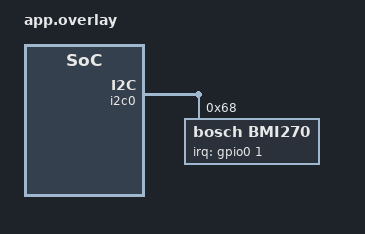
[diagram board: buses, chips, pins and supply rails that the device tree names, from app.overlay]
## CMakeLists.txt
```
# Copyright The Zephyr Project Contributors
# SPDX-License-Identifier: Apache-2.0

cmake_minimum_required(VERSION 3.28.0)
find_package(Zephyr REQUIRED HINTS $ENV{ZEPHYR_BASE})
project(bmi270)

target_include_directories(app PRIVATE ${ZEPHYR_BASE}/drivers/sensor/bosch/bmi270)
target_sources(app PRIVATE src/main.c)
```

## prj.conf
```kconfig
# Copyright The Zephyr Project Contributors
# SPDX-License-Identifier: Apache-2.0

CONFIG_ZTEST=y
CONFIG_SENSOR=y
CONFIG_SENSOR_ASYNC_API=y
CONFIG_EMUL=y
CONFIG_GPIO=y
```

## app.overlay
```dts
/*
 * Copyright The Zephyr Project Contributors
 *
 * SPDX-License-Identifier: Apache-2.0
 */

#include <zephyr/dt-bindings/gpio/gpio.h>

&i2c0 {
	bmi270: bmi270@68 {
		compatible = "bosch,bmi270";
		reg = <0x68>;
		irq-gpios = <&gpio0 1 GPIO_ACTIVE_HIGH>;
	};
};
```

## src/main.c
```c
/*
 * Copyright The Zephyr Project Contributors
 *
 * SPDX-License-Identifier: Apache-2.0
 */

#include <stdlib.h>

#include <zephyr/device.h>
#include <zephyr/drivers/sensor.h>
#include <zephyr/sys/byteorder.h>
#include <zephyr/ztest.h>

#include "bmi270.h"
#include "bmi270_decoder.h"

#ifdef CONFIG_BMI270_STREAM

/* Allowed relative error of a decoded value, in parts per million */
#define TOLERANCE_PPM 20

#define LAST_TS_NS 10000000000ULL

/* FIFO frame headers */
#define HDR_ACC_GYR    0x8CU
#define HDR_ACC        0x84U
#define HDR_GYR        0x88U
#define HDR_EMPTY      0x80U
#define HDR_SKIP       0x40U
#define HDR_SENSORTIME 0x44U
#define HDR_CONFIG_CHG 0x48U
/* INT tag bits of regular frame headers */
#define HDR_INT1_TAG   0x01U
#define HDR_INT2_TAG   0x02U

#define MAX_READINGS 8

static const struct sensor_decoder_api *decoder = SENSOR_DECODER_DT_GET(DT_NODELABEL(bmi270));

static const struct sensor_chan_spec chan_accel = {SENSOR_CHAN_ACCEL_XYZ, 0};
static const struct sensor_chan_spec chan_gyro = {SENSOR_CHAN_GYRO_XYZ, 0};

static const uint16_t gyr_range_dps[] = {2000, 1000, 500, 250, 125};

static struct {
	struct bmi270_fifo_encoded_data edata;
	uint8_t fifo[256];
} __packed buf;

static const uint8_t *const buffer = (const uint8_t *)&buf;
static size_t fifo_len;

struct expected {
	int16_t raw[3];
	uint64_t timestamp_ns;
};

static void fifo_start(bool headerless, uint8_t acc_range, uint8_t gyr_range_idx, uint8_t acc_odr,
		       uint8_t gyr_odr)
{
	memset(&buf, 0, sizeof(buf));
	buf.edata.header.timestamp = LAST_TS_NS;
	buf.edata.header.is_fifo = 1;
	buf.edata.header.is_headerless = headerless ? 1 : 0;
	buf.edata.header.acc_range = acc_range;
	buf.edata.header.gyr_range_idx = gyr_range_idx;
	buf.edata.header.acc_odr = acc_odr;
	buf.edata.header.gyr_odr = gyr_odr;
	buf.edata.header.int_status = BMI270_INT_STATUS_1_FWM_INT;
	fifo_len = 0;
}

static void put_byte(uint8_t value)
{
	buf.fifo[fifo_len++] = value;
	buf.edata.fifo_byte_count = fifo_len;
}

static void put_xyz(const int16_t raw[3])
{
	for (int i = 0; i < 3; i++) {
		sys_put_le16((uint16_t)raw[i], &buf.fifo[fifo_len]);
		fifo_len += 2;
	}
	buf.edata.fifo_byte_count = fifo_len;
}

static int64_t q31_to_micro(q31_t value, int8_t shift)
{
	return ((int64_t)value * 1000000) >> (31 - shift);
}

static int64_t accel_micro(int16_t raw, uint8_t acc_range)
{
	/* range_g * g / 32768 per LSB */
	return (int64_t)raw * (2 << acc_range) * SENSOR_G / 32768;
}

static int64_t gyro_micro(int16_t raw, uint8_t gyr_range_idx)
{
	/* range_dps * pi / 180 / 32768 rad/s per LSB */
	return (int64_t)raw * gyr_range_dps[gyr_range_idx] * SENSOR_PI / (180LL * 32768);
}

static void check_xyz(const struct sensor_three_axis_sample_data *reading, int8_t shift,
		      const int16_t raw[3], bool accel, uint8_t range)
{
	for (int i = 0; i < 3; i++) {
		int64_t expected = accel ? accel_micro(raw[i], range) : gyro_micro(raw[i], range);
		int64_t actual = q31_to_micro(reading->values[i], shift);
		int64_t tolerance = (llabs(expected) * TOLERANCE_PPM) / 1000000 + 1;

		zassert_within(actual, expected, tolerance, "raw %d: got %lld, expected %lld",
			       raw[i], actual, expected);
	}
}

static void check_count(struct sensor_chan_spec chan, uint16_t expected)
{
	uint16_t frame_count;

	zassert_ok(decoder->get_frame_count(buffer, chan, &frame_count));
	zassert_equal(frame_count, expected, "chan %d: %u frames", chan.chan_type, frame_count);
}

/* Decode all readings of a channel in one call, then one by one */
static void check_decode(struct sensor_chan_spec chan, int8_t shift, uint8_t range,
			 const struct expected *exp, int count)
{
	struct {
		struct sensor_three_axis_data data;
		struct sensor_three_axis_sample_data extra[MAX_READINGS - 1];
	} out;
	/* Not indexed through the one-element readings array of the header struct */
	const struct sensor_three_axis_sample_data *readings = out.data.readings;
	const bool accel = chan.chan_type == SENSOR_CHAN_ACCEL_XYZ;
	uint32_t fit = 0;

	zassert_true(count <= MAX_READINGS);
	check_count(chan, count);

	zassert_equal(decoder->decode(buffer, chan, &fit, MAX_READINGS, &out), count);
	if (count > 0) {
		zassert_equal(out.data.header.reading_count, count);
		zassert_equal(out.data.shift, shift);
	}

	for (int i = 0; i < count; i++) {
		const struct sensor_three_axis_sample_data *reading = &readings[i];

		zassert_equal(out.data.header.base_timestamp_ns + reading->timestamp_delta,
			      exp[i].timestamp_ns, "reading %d", i);
		check_xyz(reading, out.data.shift, exp[i].raw, accel, range);
	}
	zassert_equal(decoder->decode(buffer, chan, &fit, MAX_READINGS, &out), 0);

	fit = 0;
	for (int i = 0; i < count; i++) {
		zassert_equal(decoder->decode(buffer, chan, &fit, 1, &out), 1);
		zassert_equal(out.data.header.reading_count, 1);
		zassert_equal(out.data.shift, shift);
		zassert_equal(out.data.header.base_timestamp_ns +
				      out.data.readings[0].timestamp_delta,
			      exp[i].timestamp_ns, "reading %d", i);
		check_xyz(&out.data.readings[0], out.data.shift, exp[i].raw, accel, range);
	}
	zassert_equal(decoder->decode(buffer, chan, &fit, 1, &out), 0);
}

static void check_unsupported(struct sensor_chan_spec chan)
{
	struct sensor_three_axis_data out;
	size_t base_size;
	size_t frame_size;
	uint16_t frame_count;
	uint32_t fit = 0;

	zassert_equal(decoder->get_size_info(chan, &base_size, &frame_size), -ENOTSUP);
	zassert_equal(decoder->get_frame_count(buffer, chan, &frame_count), -ENOTSUP);
	zassert_equal(decoder->decode(buffer, chan, &fit, 1, &out), -ENOTSUP);
}

/* The buffer holds FIFO data, but no frame of the channel */
static void check_no_readings(struct sensor_chan_spec chan)
{
	struct sensor_three_axis_data out;
	uint32_t fit = 0;

	check_count(chan, 0);
	zassert_equal(decoder->decode(buffer, chan, &fit, 1, &out), -ENODATA);
	zassert_equal(fit, 0);
}

ZTEST(bmi270_decoder, test_size_info)
{
	size_t base_size;
	size_t frame_size;

	zassert_ok(decoder->get_size_info(chan_accel, &base_size, &frame_size));
	zassert_equal(base_size, sizeof(struct sensor_three_axis_data));
	zassert_equal(frame_size, sizeof(struct sensor_three_axis_sample_data));

	zassert_ok(decoder->get_size_info(chan_gyro, &base_size, &frame_size));
	zassert_equal(base_size, sizeof(struct sensor_three_axis_data));
	zassert_equal(frame_size, sizeof(struct sensor_three_axis_sample_data));
}

ZTEST(bmi270_decoder, test_unsupported)
{
	static const int16_t raw[3] = {1, 2, 3};

	fifo_start(false, 0, 0, BMI270_ACC_ODR_100_HZ, BMI270_GYR_ODR_100_HZ);
	put_byte(HDR_ACC_GYR);
	put_xyz(raw);
	put_xyz(raw);

	check_unsupported((struct sensor_chan_spec){SENSOR_CHAN_ACCEL_XYZ, 1});
	check_unsupported((struct sensor_chan_spec){SENSOR_CHAN_GYRO_XYZ, 1});
	check_unsupported((struct sensor_chan_spec){SENSOR_CHAN_ACCEL_X, 0});
	check_unsupported((struct sensor_chan_spec){SENSOR_CHAN_GYRO_Z, 0});
	check_unsupported((struct sensor_chan_spec){SENSOR_CHAN_DIE_TEMP, 0});
}

ZTEST(bmi270_decoder, test_not_fifo)
{
	const struct sensor_chan_spec accel_idx1 = {SENSOR_CHAN_ACCEL_XYZ, 1};
	const struct sensor_chan_spec die_temp = {SENSOR_CHAN_DIE_TEMP, 0};
	struct sensor_three_axis_data out;
	uint16_t frame_count;
	uint32_t fit = 0;

	fifo_start(false, 0, 0, BMI270_ACC_ODR_100_HZ, BMI270_GYR_ODR_100_HZ);
	buf.edata.header.is_fifo = 0;

	zassert_equal(decoder->get_frame_count(buffer, chan_accel, &frame_count), -ENODATA);
	zassert_equal(decoder->decode(buffer, chan_accel, &fit, 1, &out), -EINVAL);
	zassert_false(decoder->has_trigger(buffer, SENSOR_TRIG_FIFO_WATERMARK));

	/* The channel index is checked first, the channel type after the buffer type */
	zassert_equal(decoder->get_frame_count(buffer, accel_idx1, &frame_count), -ENOTSUP);
	zassert_equal(decoder->decode(buffer, accel_idx1, &fit, 1, &out), -ENOTSUP);
	zassert_equal(decoder->get_frame_count(buffer, die_temp, &frame_count), -ENODATA);
	zassert_equal(decoder->decode(buffer, die_temp, &fit, 1, &out), -EINVAL);
}

ZTEST(bmi270_decoder, test_empty)
{
	fifo_start(false, 0, 0, BMI270_ACC_ODR_100_HZ, BMI270_GYR_ODR_100_HZ);
	check_decode(chan_accel, 5, 0, NULL, 0);
	check_decode(chan_gyro, 6, 0, NULL, 0);

	fifo_start(true, 0, 0, BMI270_ACC_ODR_100_HZ, BMI270_GYR_ODR_100_HZ);
	check_decode(chan_accel, 5, 0, NULL, 0);
	check_decode(chan_gyro, 6, 0, NULL, 0);
}

/* Header mode with control frames and frames carrying one sensor only */
ZTEST(bmi270_decoder, test_header_mode)
{
	/* 100 Hz accelerometer at +/-4 g, 200 Hz gyroscope at +/-500 dps */
	const uint64_t acc_period = 10000000ULL;
	const uint64_t gyr_period = 5000000ULL;
	const struct expected acc[] = {
		{{100, -200, 8192}, LAST_TS_NS - 2 * acc_period},
		{{-32768, 32767, 0}, LAST_TS_NS - acc_period},
		{{1, -1, -8192}, LAST_TS_NS},
	};
	const struct expected gyr[] = {
		{{10, 20, 30}, LAST_TS_NS - 3 * gyr_period},
		{{-32768, 0, 32767}, LAST_TS_NS - 2 * gyr_period},
		{{-5, 6, -7}, LAST_TS_NS - gyr_period},
		{{1000, -1000, 65}, LAST_TS_NS},
	};

	fifo_start(false, 1, 2, BMI270_ACC_ODR_100_HZ, BMI270_GYR_ODR_200_HZ);
	put_byte(HDR_SKIP);
	put_byte(0x01);
	put_byte(HDR_ACC_GYR | HDR_INT1_TAG);
	put_xyz(gyr[0].raw);
	put_xyz(acc[0].raw);
	put_byte(HDR_GYR | HDR_INT2_TAG);
	put_xyz(gyr[1].raw);
	put_byte(HDR_SENSORTIME);
	put_byte(0x11);
	put_byte(0x22);
	put_byte(0x33);
	put_byte(HDR_ACC | HDR_INT1_TAG | HDR_INT2_TAG);
	put_xyz(acc[1].raw);
	put_byte(HDR_CONFIG_CHG);
	put_byte(0x00);
	put_byte(0x00);
	put_byte(0x00);
	put_byte(0x00);
	put_byte(HDR_GYR);
	put_xyz(gyr[2].raw);
	put_byte(HDR_ACC_GYR);
	put_xyz(gyr[3].raw);
	put_xyz(acc[2].raw);
	/* Over-read marker at the end of the FIFO data */
	put_byte(HDR_EMPTY);
	put_byte(0x00);

	check_decode(chan_accel, 6, 1, acc, ARRAY_SIZE(acc));
	check_decode(chan_gyro, 6, 2, gyr, ARRAY_SIZE(gyr));
}

/* Header mode buffers without frames of one or both sensors */
ZTEST(bmi270_decoder, test_header_mode_no_readings)
{
	const struct expected acc[] = {
		{{1, 2, 3}, LAST_TS_NS},
	};

	fifo_start(false, 0, 0, BMI270_ACC_ODR_100_HZ, BMI270_GYR_ODR_100_HZ);
	put_byte(HDR_SKIP);
	put_byte(0x01);
	put_byte(HDR_EMPTY);
	put_byte(0x00);
	check_no_readings(chan_accel);
	check_no_readings(chan_gyro);

	fifo_start(false, 0, 0, BMI270_ACC_ODR_100_HZ, BMI270_GYR_ODR_100_HZ);
	put_byte(HDR_ACC);
	put_xyz(acc[0].raw);
	check_decode(chan_accel, 5, 0, acc, ARRAY_SIZE(acc));
	check_no_readings(chan_gyro);
}

/* A read capped to the buffer size can end in the middle of a frame */
ZTEST(bmi270_decoder, test_header_mode_truncated)
{
	const uint64_t period = 40000000ULL;
	const struct expected acc[] = {
		{{1, 2, 3}, LAST_TS_NS - period},
		{{4, 5, 6}, LAST_TS_NS},
	};
	const struct expected gyr[] = {
		{{7, 8, 9}, LAST_TS_NS - period},
		{{10, 11, 12}, LAST_TS_NS},
	};
	/* The truncated payload holds valid headers that must not be parsed */
	const int16_t truncated[3] = {HDR_ACC, HDR_ACC, HDR_ACC};

	fifo_start(false, 0, 0, BMI270_ACC_ODR_25_HZ, BMI270_GYR_ODR_25_HZ);
	for (size_t i = 0; i < ARRAY_SIZE(acc); i++) {
		put_byte(HDR_ACC_GYR);
		put_xyz(gyr[i].raw);
		put_xyz(acc[i].raw);
	}
	put_byte(HDR_ACC_GYR);
	put_xyz(truncated);
	put_xyz(truncated);
	buf.edata.fifo_byte_count -= 3;

	check_decode(chan_accel, 5, 0, acc, ARRAY_SIZE(acc));
	check_decode(chan_gyro, 6, 0, gyr, ARRAY_SIZE(gyr));
}

ZTEST(bmi270_decoder, test_headerless)
{
	/* 1600 Hz, accelerometer at +/-16 g, gyroscope at +/-125 dps */
	const uint64_t period = 625000ULL;
	const struct expected acc[] = {
		{{2048, -2048, 32767}, LAST_TS_NS - 2 * period},
		{{0, 1, -1}, LAST_TS_NS - period},
		{{-32768, 12345, -12345}, LAST_TS_NS},
	};
	const struct expected gyr[] = {
		{{262, -262, 0}, LAST_TS_NS - 2 * period},
		{{32767, -32768, 1}, LAST_TS_NS - period},
		{{-100, 200, -300}, LAST_TS_NS},
	};

	fifo_start(true, 3, 4, BMI270_ACC_ODR_1600_HZ, BMI270_GYR_ODR_1600_HZ);
	for (size_t i = 0; i < ARRAY_SIZE(acc); i++) {
		put_xyz(gyr[i].raw);
		put_xyz(acc[i].raw);
	}
	/* Trailing partial frame */
	put_byte(0x55);

	check_decode(chan_accel, 8, 3, acc, ARRAY_SIZE(acc));
	check_decode(chan_gyro, 6, 4, gyr, ARRAY_SIZE(gyr));
}

ZTEST(bmi270_decoder, test_ranges)
{
	const struct expected exp[] = {
		{{32767, -32768, 16384}, LAST_TS_NS - 40000000ULL},
		{{-1, 1, -16384}, LAST_TS_NS},
	};

	for (uint8_t range = 0; range < 4; range++) {
		fifo_start(false, range, 0, BMI270_ACC_ODR_25_HZ, BMI270_GYR_ODR_25_HZ);
		for (size_t i = 0; i < ARRAY_SIZE(exp); i++) {
			put_byte(HDR_ACC);
			put_xyz(exp[i].raw);
		}
		check_decode(chan_accel, 5 + range, range, exp, ARRAY_SIZE(exp));
	}

	for (uint8_t range = 0; range < ARRAY_SIZE(gyr_range_dps); range++) {
		fifo_start(true, 0, range, BMI270_ACC_ODR_25_HZ, BMI270_GYR_ODR_25_HZ);
		for (size_t i = 0; i < ARRAY_SIZE(exp); i++) {
			put_xyz(exp[i].raw);
			put_xyz(exp[i].raw);
		}
		check_decode(chan_gyro, 6, range, exp, ARRAY_SIZE(exp));
	}
}

ZTEST(bmi270_decoder, test_odr)
{
	static const struct {
		uint8_t odr;
		uint64_t period_ns;
	} odrs[] = {
		{BMI270_ACC_ODR_25D32_HZ, 1280000000ULL}, {BMI270_ACC_ODR_25D16_HZ, 640000000ULL},
		{BMI270_ACC_ODR_25D8_HZ, 320000000ULL},   {BMI270_ACC_ODR_25D4_HZ, 160000000ULL},
		{BMI270_ACC_ODR_25D2_HZ, 80000000ULL},    {BMI270_ACC_ODR_25_HZ, 40000000ULL},
		{BMI270_ACC_ODR_50_HZ, 20000000ULL},      {BMI270_ACC_ODR_100_HZ, 10000000ULL},
		{BMI270_ACC_ODR_200_HZ, 5000000ULL},      {BMI270_ACC_ODR_400_HZ, 2500000ULL},
		{BMI270_ACC_ODR_800_HZ, 1250000ULL},      {BMI270_ACC_ODR_1600_HZ, 625000ULL},
		{BMI270_GYR_ODR_3200_HZ, 312500ULL},
	};
	struct expected exp[] = {
		{{1, 2, 3}, 0},
		{{4, 5, 6}, LAST_TS_NS},
	};

	for (size_t i = 0; i < ARRAY_SIZE(odrs); i++) {
		exp[0].timestamp_ns = LAST_TS_NS - odrs[i].period_ns;

		fifo_start(false, 0, 0, odrs[i].odr, odrs[i].odr);
		for (size_t j = 0; j < ARRAY_SIZE(exp); j++) {
			put_byte(HDR_ACC_GYR);
			put_xyz(exp[j].raw);
			put_xyz(exp[j].raw);
		}
		check_decode(chan_accel, 5, 0, exp, ARRAY_SIZE(exp));
		check_decode(chan_gyro, 6, 0, exp, ARRAY_SIZE(exp));
	}

	/* A disabled sensor has no sample period: all readings get the buffer timestamp */
	exp[0].timestamp_ns = LAST_TS_NS;
	fifo_start(false, 0, 0, 0, 0);
	for (size_t j = 0; j < ARRAY_SIZE(exp); j++) {
		put_byte(HDR_ACC_GYR);
		put_xyz(exp[j].raw);
		put_xyz(exp[j].raw);
	}
	check_decode(chan_accel, 5, 0, exp, ARRAY_SIZE(exp));
	check_decode(chan_gyro, 6, 0, exp, ARRAY_SIZE(exp));
}

/* Readings spanning more than UINT32_MAX ns are decoded in several batches */
ZTEST(bmi270_decoder, test_slow_odr_batches)
{
	const uint64_t period = 1280000000ULL;
	const uint16_t batches[] = {4, 2};
	struct {
		struct sensor_three_axis_data data;
		struct sensor_three_axis_sample_data extra[MAX_READINGS - 1];
	} out;
	const struct sensor_three_axis_sample_data *readings = out.data.readings;
	int16_t raw[6][3];
	uint32_t fit = 0;
	size_t idx = 0;

	fifo_start(false, 0, 0, BMI270_ACC_ODR_25D32_HZ, BMI270_GYR_ODR_25_HZ);
	for (size_t i = 0; i < ARRAY_SIZE(raw); i++) {
		const int16_t n = (int16_t)i;

		raw[i][0] = 100 * n;
		raw[i][1] = -100 * n;
		raw[i][2] = 1000 + n;
		put_byte(HDR_ACC);
		put_xyz(raw[i]);
	}
	check_count(chan_accel, ARRAY_SIZE(raw));

	for (size_t b = 0; b < ARRAY_SIZE(batches); b++) {
		zassert_equal(decoder->decode(buffer, chan_accel, &fit, MAX_READINGS, &out),
			      batches[b], "batch %zu", b);
		zassert_equal(out.data.header.reading_count, batches[b]);
		zassert_equal(out.data.shift, 5);

		for (uint16_t i = 0; i < batches[b]; i++, idx++) {
			uint64_t ts =
				out.data.header.base_timestamp_ns + readings[i].timestamp_delta;

			zassert_equal(ts, LAST_TS_NS - (ARRAY_SIZE(raw) - 1 - idx) * period,
				      "reading %zu", idx);
			check_xyz(&readings[i], out.data.shift, raw[idx], true, 0);
		}
	}
	zassert_equal(decoder->decode(buffer, chan_accel, &fit, MAX_READINGS, &out), 0);
	check_no_readings(chan_gyro);
}

ZTEST(bmi270_decoder, test_has_trigger)
{
	fifo_start(false, 0, 0, BMI270_ACC_ODR_100_HZ, BMI270_GYR_ODR_100_HZ);

	buf.edata.header.int_status = BMI270_INT_STATUS_1_FWM_INT;
	zassert_true(decoder->has_trigger(buffer, SENSOR_TRIG_FIFO_WATERMARK));
	zassert_false(decoder->has_trigger(buffer, SENSOR_TRIG_FIFO_FULL));
	zassert_false(decoder->has_trigger(buffer, SENSOR_TRIG_DATA_READY));

	buf.edata.header.int_status = BMI270_INT_STATUS_1_FFULL_INT;
	zassert_false(decoder->has_trigger(buffer, SENSOR_TRIG_FIFO_WATERMARK));
	zassert_true(decoder->has_trigger(buffer, SENSOR_TRIG_FIFO_FULL));

	buf.edata.header.int_status = BMI270_INT_STATUS_1_FWM_INT | BMI270_INT_STATUS_1_FFULL_INT;
	zassert_true(decoder->has_trigger(buffer, SENSOR_TRIG_FIFO_WATERMARK));
	zassert_true(decoder->has_trigger(buffer, SENSOR_TRIG_FIFO_FULL));

	buf.edata.header.int_status = BMI270_INT_STATUS_1_ACC_DRDY_INT;
	zassert_false(decoder->has_trigger(buffer, SENSOR_TRIG_FIFO_WATERMARK));
	zassert_false(decoder->has_trigger(buffer, SENSOR_TRIG_FIFO_FULL));
	zassert_false(decoder->has_trigger(buffer, SENSOR_TRIG_DATA_READY));
}

#else /* CONFIG_BMI270_STREAM */

/* Without FIFO streaming, reads use the generic submit path and its default decoder */
ZTEST(bmi270_decoder, test_default_decoder)
{
	const struct sensor_decoder_api *decoder;

	zassert_ok(sensor_get_decoder(DEVICE_DT_GET(DT_NODELABEL(bmi270)), &decoder));
	zassert_equal_ptr(decoder, &__sensor_default_decoder);
}

#endif /* CONFIG_BMI270_STREAM */

ZTEST_SUITE(bmi270_decoder, NULL, NULL, NULL, NULL, NULL);
```
